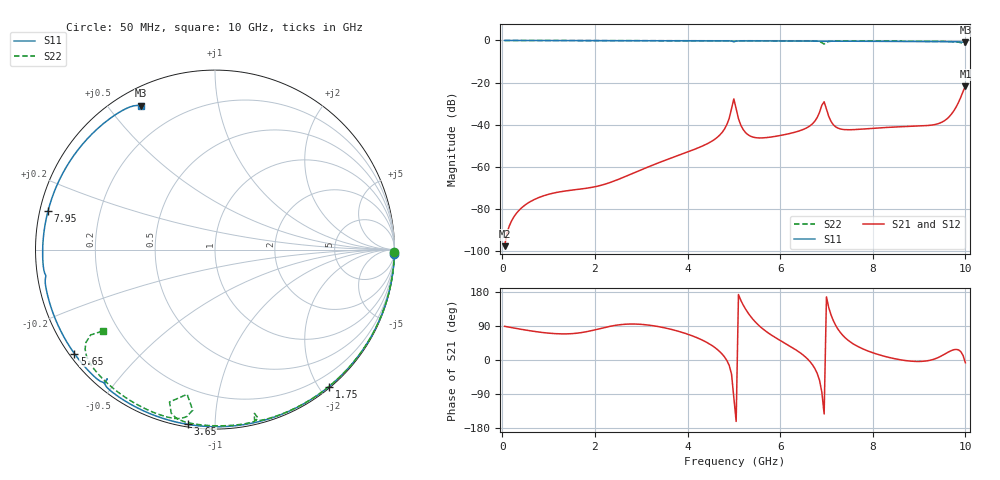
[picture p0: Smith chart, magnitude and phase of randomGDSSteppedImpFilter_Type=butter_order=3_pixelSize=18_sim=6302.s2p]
! freq	dB(S11)	phase(S11)	dB(S12)	phase(S12)
!  dB(S21)	phase(S21)	dB(S22)	phase(S22)
!S-par simulation data
#  GHz  S  DB  R 50
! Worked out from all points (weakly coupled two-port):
!   200 points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, 50 MHz to 10 GHz, reference 50 ohm
!   highest |S21| = -21.71 dB at 10 GHz (marker M1); lowest = -97.6 dB at 50 MHz (marker M2)
!   lowest |S11| = -0.9 dB at 10 GHz (marker M3), VSWR 19.47, Z = 3.51 + j30.3 ohm
!   |S11| at or under -10 dB: nowhere
!   |S22| runs from -2.3 to 0.0 dB; largest |S21 - S12| = 0
!   S11 on the Smith chart (normalised r, x): 50 MHz: 0, -77; 1.75 GHz: 0.02, -2.13; 3.65 GHz: 0.01, -0.86; 5.65 GHz: 0.01, -0.33; 7.95 GHz: 0.02, +0.11; 10 GHz: 0.07, +0.61
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0.05  -0.00 -1.5  -97.58 88.9  -97.58 88.9  -0.00 -0.8
0.4  -0.02 -11.8  -79.74 81.1  -79.74 81.1  -0.01 -6.5
1.75  -0.06 -50.2  -70.32 73.1  -70.32 73.1  -0.04 -28.0
3.4  -0.12 -92.9  -57.81 87.5  -57.81 87.5  -0.07 -53.2
3.65  -0.13 -98.9  -55.73 80.8  -55.73 80.8  -0.08 -56.9
4.6  -0.17 -121.0  -46.68 32.0  -46.68 32.0  -0.11 -70.9
4.85  -0.19 -126.8  -39.85 -1.5  -39.85 -1.5  -0.13 -74.8
5  -0.56 -129.8  -27.73 -98.1  -27.73 -98.1  -0.55 -76.5
5.05  -0.32 -129.6  -32.37 -162.1  -32.37 -162.1  -0.27 -75.6
5.15  -0.22 -132.3  -40.14 157.7  -40.14 157.7  -0.15 -77.7
5.25  -0.21 -134.7  -43.65 134.9  -43.65 134.9  -0.14 -79.4
5.65  -0.23 -143.5  -46.17 79.8  -46.17 79.8  -0.14 -85.2
6.7  -0.30 -166.1  -39.48 -13.0  -39.48 -13.0  -0.24 -100.8
6.9  -0.38 -170.6  -30.74 -84.8  -30.74 -84.8  -1.05 -106.6
6.95  -0.42 -171.2  -29.08 -142.5  -29.08 -142.5  -1.71 -100.9
7.1  -0.35 -174.2  -38.46 118.6  -38.46 118.6  -0.37 -101.2
7.2  -0.34 -176.5  -41.00 91.2  -41.00 91.2  -0.29 -103.4
7.95  -0.40 167.1  -41.77 21.3  -41.77 21.3  -0.29 -114.4
8.35  -0.44 158.0  -41.20 6.7  -41.20 6.7  -0.32 -119.6
9.5  -0.57 130.3  -38.68 11.9  -38.68 11.9  -0.47 -135.3
9.75  -0.62 123.7  -33.39 27.2  -33.39 27.2  -0.61 -140.0
10  -0.89 117.4  -21.71 -7.4  -21.71 -7.4  -2.26 -144.0
